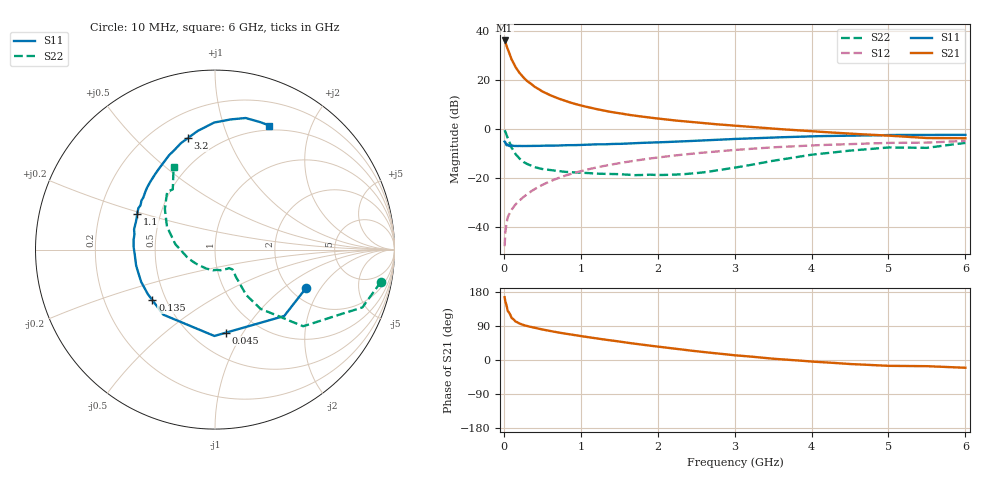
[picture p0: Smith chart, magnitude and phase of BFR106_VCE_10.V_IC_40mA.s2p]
! Infineon Technologies  Discrete & RF Semiconductors
! BFR106
! VCE =  10. V,  IC =  40 mA
! Common Emitter S-Parameters:  Nov 2015
# GHz  S  MA  R  50
!  f  S11  S21  S12  S22
! GHz  MAG  ANG  MAG  ANG  MAG  ANG  MAG  ANG
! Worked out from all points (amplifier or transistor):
!   210 points, 10 MHz to 6 GHz, reference 50 ohm
!   highest |S21| = 36.2 dB at 10 MHz (marker M1)
!   |S21| within 3 dB of that: start of sweep to 43.71 MHz
!   unconditionally stable (mu >= 1): 286.2 MHz to 2.279 GHz
!   at 185 MHz: K = 0.88, MSG = 26.8 dB, |S12| = -29.8 dB
!   at 1.52 GHz: K = 1.06, MAG = 8.7 dB, |S12| = -13.9 dB
!   at 6 GHz: K = 0.98, MSG = 0.5 dB, |S12| = -4.9 dB
!   S11 on the Smith chart (normalised r, x): 10 MHz: 2.41, -1.48; 45 MHz: 0.71, -0.85; 135 MHz: 0.42, -0.30; 1.1 GHz: 0.37, +0.19; 3.2 GHz: 0.35, +0.72; 6 GHz: 0.45, +1.44
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0.01  0.5504 -23.0  64.41 165.7  0.004 82.8  0.9418 -11.0
0.02  0.5343 -43.8  59.8 154.3  0.0079 73.3  0.8822 -21.4
0.045  0.4667 -82.4  44.98 135.1  0.0142 63.8  0.6828 -36.9
0.05  0.4812 -90.4  42.86 129.8  0.0155 62.8  0.651 -41.0
0.1  0.4632 -128.5  26.48 111.3  0.0221 58.5  0.415 -52.5
0.135  0.4483 -141.1  20.82 105.5  0.0264 59.9  0.3389 -54.4
0.15  0.4489 -146.7  18.48 101.9  0.0283 60.4  0.3064 -55.5
0.2  0.4489 -156.4  14.23 96.6  0.0339 63.7  0.2513 -54.3
0.24  0.4466 -162.3  11.99 93.5  0.0387 65.0  0.2208 -53.5
0.3  0.4482 -168.8  9.601 89.6  0.0458 67.3  0.1929 -52.6
0.4  0.4475 -176.0  7.282 84.8  0.0587 69.2  0.1654 -50.3
0.5  0.4536 178.2  5.846 80.5  0.0716 70.0  0.1512 -48.6
0.6  0.4568 173.2  4.91 76.6  0.0845 69.9  0.1443 -49.2
0.8  0.4648 165.9  3.718 69.5  0.1109 69.0  0.1323 -52.0
1.02  0.4709 157.9  2.965 62.5  0.1393 67.2  0.1272 -57.1
1.1  0.4768 155.4  2.768 60.1  0.1495 66.3  0.1252 -60.1
2.02  0.5323 130.1  1.617 34.9  0.2624 54.8  0.1142 -104.1
3.1  0.6305 105.7  1.13 10.9  0.3804 39.5  0.171 -170.8
3.2  0.6387 103.8  1.099 9.2  0.39 38.0  0.1823 -175.9
4.1  0.7115 88.9  0.876 -5.3  0.4663 24.9  0.3079 151.3
5.1  0.7521 75.6  0.713 -15.6  0.5187 11.7  0.4157 128.8
6  0.755 66.3  0.644 -20.5  0.5691 1.6  0.5172 116.5
